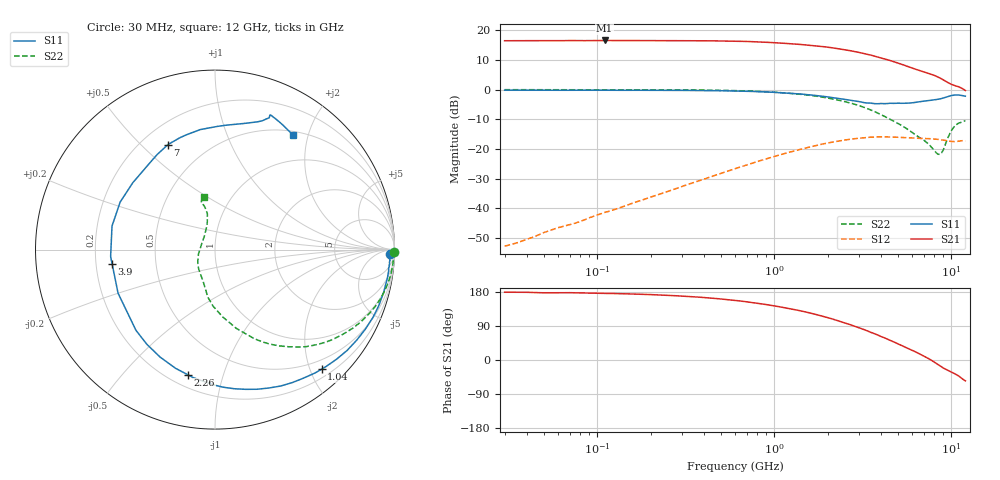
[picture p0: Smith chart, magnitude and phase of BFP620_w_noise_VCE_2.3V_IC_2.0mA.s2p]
! Infineon Technologies  Discrete & RF Semiconductors
! BFP620
! VCE =  2.3 V,  IC =  2.0 mA
! Common Emitter S-Parameters:  Nov 2015
# GHz  S  MA  R  50
!  f  S11  S21  S12  S22
! GHz  MAG  ANG  MAG  ANG  MAG  ANG  MAG  ANG
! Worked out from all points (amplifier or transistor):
!   239 points, 30 MHz to 12 GHz, reference 50 ohm
!   highest |S21| = 16.6 dB at 110 MHz (marker M1)
!   |S21| within 3 dB of that: start of sweep to 2.421 GHz
!   unconditionally stable (mu >= 1): 6.562 GHz to end of sweep
!   at 300 MHz: K = 0.05, MSG = 24.6 dB, |S12| = -32.7 dB
!   at 1.88 GHz: K = 0.30, MSG = 16.4 dB, |S12| = -18.3 dB
!   at 12 GHz: K = 1.49, MAG = 4.3 dB, |S12| = -17.3 dB
!   lowest NFmin = 0.64 dB at 450 MHz
!   S11 on the Smith chart (normalised r, x): 30 MHz: 41, -42; 1.04 GHz: 0.33, -2.19; 2.26 GHz: 0.27, -0.77; 3.9 GHz: 0.27, -0.06; 7 GHz: 0.30, +0.61; 12 GHz: 0.55, +1.75
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0.03  0.9764 -1.4  6.65 178.9  0.0023 73.2  0.9964 -0.8
0.085  0.976 -3.8  6.679 176.8  0.0064 83.8  0.9964 -2.3
0.11  0.9744 -5.1  6.724 175.6  0.0085 83.9  0.9957 -3.1
0.175  0.9741 -8.1  6.691 173.6  0.0134 83.3  0.9938 -4.9
0.24  0.9709 -11.0  6.684 171.0  0.0184 82.5  0.9913 -6.7
0.4  0.9647 -18.7  6.66 164.9  0.0309 78.8  0.9809 -11.2
0.6  0.9476 -28.0  6.543 157.3  0.0464 73.2  0.9612 -16.7
0.8  0.9259 -37.4  6.373 149.8  0.0611 67.3  0.9338 -22.0
1.04  0.8923 -48.3  6.123 141.5  0.0772 60.5  0.8956 -27.9
1.32  0.854 -60.7  5.83 132.5  0.0939 53.2  0.8479 -34.4
1.64  0.8059 -74.9  5.534 122.5  0.1105 45.3  0.7905 -41.4
1.92  0.7649 -87.3  5.264 114.0  0.123 38.6  0.7377 -47.2
2.26  0.7137 -102.2  4.917 104.5  0.1344 31.1  0.6703 -53.7
2.6  0.6726 -117.0  4.603 95.3  0.1437 24.4  0.6087 -59.9
2.98  0.6308 -133.5  4.252 85.6  0.1511 17.3  0.5423 -66.2
3.9  0.5787 -172.1  3.496 64.5  0.1597 2.6  0.3934 -81.3
4.5  0.5886 167.1  3.094 51.9  0.1596 -5.5  0.3157 -91.9
5.5  0.5904 140.9  2.535 33.4  0.1549 -15.3  0.2266 -103.8
7  0.6412 114.1  1.987 10.4  0.1501 -25.7  0.1402 -130.8
8.6  0.6959 84.9  1.574 -15.0  0.1435 -36.7  0.0809 155.9
10.2  0.8005 67.7  1.199 -33.9  0.1334 -42.7  0.2216 102.6
12  0.7732 56.0  0.964 -55.1  0.1369 -48.7  0.3006 101.3
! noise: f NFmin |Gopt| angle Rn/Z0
0.45  0.64  0.73  6  0.25
0.9  0.68  0.65  14  0.24
1.9  0.77  0.45  43  0.2
2.4  0.88  0.39  62  0.19
3.5  0.92  0.28  86  0.16
5.5  1.51  0.26  176  0.13
10  2.39  0.65  -60  1.15
